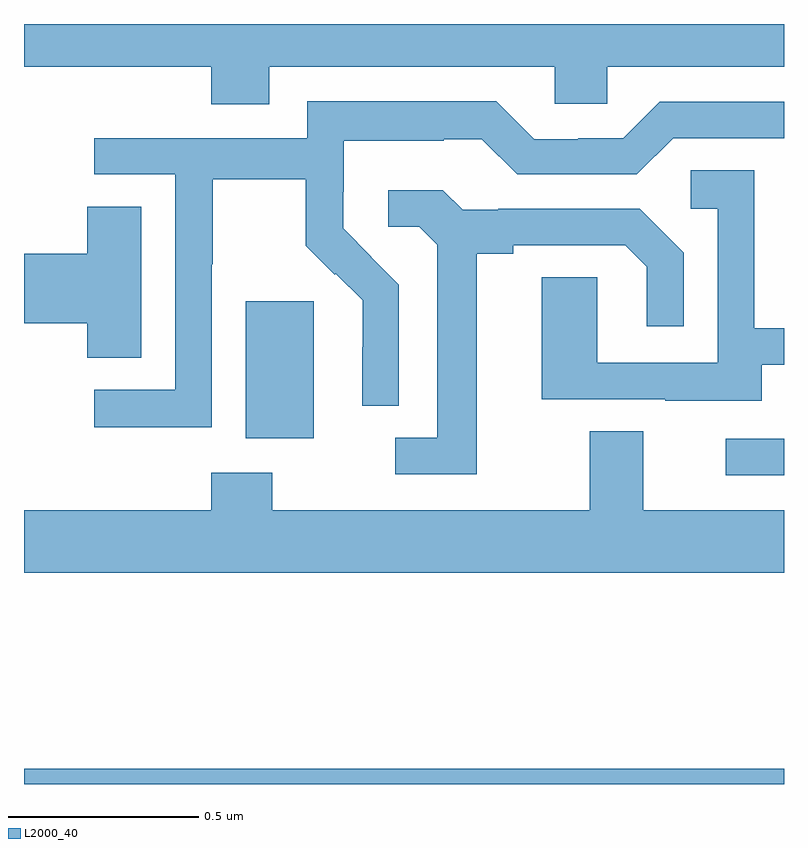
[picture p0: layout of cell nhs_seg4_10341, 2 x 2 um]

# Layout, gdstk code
import gdstk
lib = gdstk.Library(unit=1e-6, precision=1e-09)
def R(c, l, rs):  # rectangles x0, y0, x1, y1
    for r in rs: c.add(gdstk.rectangle(r[:2], r[2:], *l))
def P(c, l, *ps):  # polygons
    for p in ps: c.add(gdstk.Polygon(p, *l))
L2000_40 = (2000, 40)

nhs_seg4_10341 = lib.new_cell('nhs_seg4_10341')
R(nhs_seg4_10341, L2000_40, [(238,826.9,240,826.94), (239.847,827.712,240,827.808), (238.583,827.81,238.762,828.171)])
P(nhs_seg4_10341, L2000_40, [(238.645,828.788),(239.397,828.788),(239.397,828.69),(239.535,828.69),(239.535,828.788),(240,828.788),(240,828.9),(238,828.9),(238,828.788),(238.493,828.788),(238.493,828.689),(238.645,828.689)],
  [(238.494,828.268),(238.497,828.268),(238.497,828.492),(238.741,828.492),(238.741,828.317),(238.818,828.24),(238.821,828.243),(238.892,828.173),(238.892,828.05),(238.89,828.05),(238.89,827.896),(238.986,827.896),(238.986,828.214),(238.913,828.287),(238.914,828.288),(238.84,828.362),(238.84,828.459),(238.842,828.459),(238.842,828.593),(239.105,828.593),(239.105,828.597),(239.205,828.597),(239.298,828.504),(239.613,828.504),(239.709,828.6),(240,828.6),(240,828.696),(239.673,828.696),(239.577,828.6),(239.459,828.6),(239.459,828.597),(239.343,828.597),(239.243,828.697),(238.746,828.697),(238.746,828.6),(238.185,828.6),(238.185,828.504),(238.398,828.504),(238.398,827.937),(238.185,827.937),(238.185,827.839),(238.494,827.839)],
  [(239.941,828.003),(240,828.003),(240,828.099),(239.922,828.099),(239.922,828.515),(239.754,828.515),(239.754,828.414),(239.826,828.414),(239.826,828.009),(239.508,828.009),(239.508,828.233),(239.363,828.233),(239.363,827.913),(239.687,827.913),(239.687,827.909),(239.941,827.909)],
  [(239.191,828.296),(239.287,828.296),(239.287,828.318),(239.582,828.318),(239.639,828.261),(239.639,828.105),(239.736,828.105),(239.736,828.298),(239.62,828.414),(239.248,828.414),(239.248,828.411),(239.154,828.411),(239.102,828.463),(238.959,828.463),(238.959,828.366),(239.04,828.366),(239.087,828.319),(239.087,827.811),(238.977,827.811),(238.977,827.715),(239.191,827.715)],
  [(238.309,828.419),(238.166,828.419),(238.166,828.296),(238,828.296),(238,828.113),(238.166,828.113),(238.166,828.022),(238.309,828.022)],
  [(240,827.62),(239.629,827.62),(239.629,827.828),(239.489,827.828),(239.489,827.62),(238.653,827.62),(238.653,827.719),(238.493,827.719),(238.493,827.62),(238,827.62),(238,827.456),(240,827.456)])

lib.write_gds('nhs_seg4_10341.gds')
